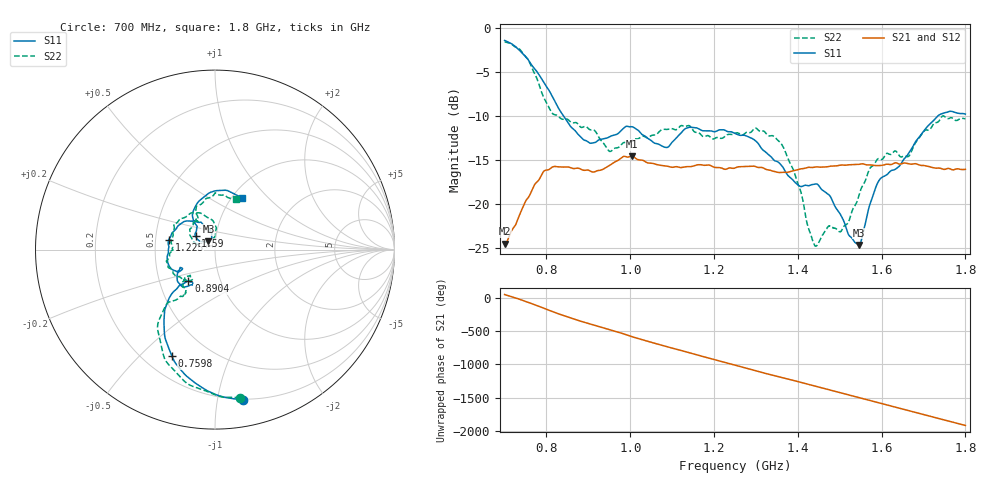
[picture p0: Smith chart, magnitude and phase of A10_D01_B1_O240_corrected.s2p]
! Created with skrf 1.9.0 (http://scikit-rf.org).
# Hz S RI R 50.0
!freq ReS11 ImS11 ReS21 ImS21 ReS12 ImS12 ReS22 ImS22
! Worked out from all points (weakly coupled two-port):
!   1601 points, 700 MHz to 1.8 GHz, reference 50 ohm
!   highest |S21| = -14.59 dB at 1.003 GHz (marker M1); lowest = -24.5 dB at 700.7 MHz (marker M2)
!   lowest |S11| = -24.7 dB at 1.546 GHz (marker M3), VSWR 1.12, Z = 46.3 + j4.22 ohm
!   |S11| at or under -10 dB: 840.2 MHz to 1.734 GHz (894 MHz wide, 69.5 % of centre)
!   |S22| runs from -24.8 to -1.5 dB; largest |S21 - S12| = 0.0037
!   S11 on the Smith chart (normalised r, x): 700 MHz: 0.20, -1.19; 759.8 MHz: 0.31, -0.63; 890.4 MHz: 0.70, -0.26; 1.225 GHz: 0.59, +0.07; 1.59 GHz: 0.80, +0.12; 1.8 GHz: 1.12, +0.71
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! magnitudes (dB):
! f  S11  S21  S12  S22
! 700 MHz  -1.4  -24.5  -24.3  -1.5
! 700.7 MHz  -1.4  -24.5  -24.2  -1.6
! 759.8 MHz  -3.9  -19.0  -18.9  -3.9
! 812.8 MHz  -7.7  -15.9  -15.8  -9.6
! 883.6 MHz  -12.5  -16.1  -16.0  -11.3
! 890.4 MHz  -12.8  -16.2  -16.2  -11.2
! 950.9 MHz  -12.4  -15.6  -15.6  -14.0
! 1.003 GHz  -11.2  -14.6  -14.7  -12.8
! 1.067 GHz  -13.2  -15.6  -15.5  -11.9
! 1.139 GHz  -11.3  -15.8  -15.7  -11.1
! 1.225 GHz  -11.6  -16.1  -16.0  -12.4
! 1.25 GHz  -12.0  -15.9  -15.9  -12.0
! 1.36 GHz  -15.6  -16.4  -16.4  -13.1
! 1.405 GHz  -18.0  -16.0  -16.1  -18.4
! 1.434 GHz  -17.8  -15.9  -15.8  -23.9
! 1.504 GHz  -21.4  -15.6  -15.6  -23.1
! 1.546 GHz  -24.7  -15.5  -15.5  -19.0
! 1.59 GHz  -17.6  -15.6  -15.6  -14.9
! 1.617 GHz  -16.5  -15.5  -15.5  -14.3
! 1.664 GHz  -14.3  -15.4  -15.4  -14.6
! 1.736 GHz  -9.9  -15.9  -16.0  -10.6
! 1.8 GHz  -9.8  -16.1  -16.1  -10.3
